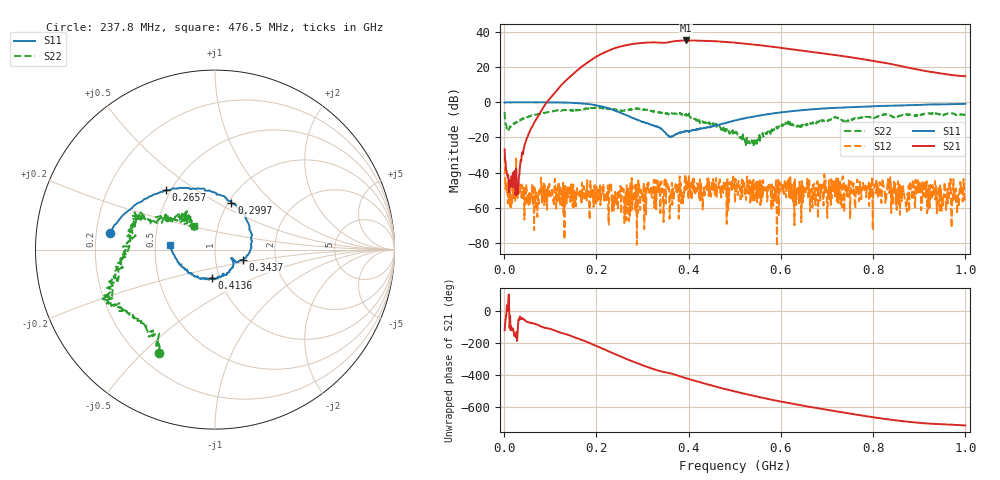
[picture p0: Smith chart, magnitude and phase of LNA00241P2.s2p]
! Created with skrf 1.9.0 (http://scikit-rf.org).
# Hz S RI R 50.0
!freq ReS11 ImS11 ReS21 ImS21 ReS12 ImS12 ReS22 ImS22
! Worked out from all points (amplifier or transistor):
!   1001 points, 1 MHz to 1 GHz, reference 50 ohm
!   highest |S21| = 35.1 dB at 394.6 MHz (marker M1)
!   |S21| within 3 dB of that: 259.2 MHz to 563 MHz (303.9 MHz wide, 73.9 % of centre)
!   unconditionally stable (mu >= 1): 3.563 MHz to 87.77 MHz; 224.8 MHz to 276.6 MHz; 290.8 MHz to end of sweep (the widest 3 of 30)
!   at 166.8 MHz: K = 1.79, MAG = 32.1 dB, |S12| = -54.7 dB
!   at 500.5 MHz: K = 6.47, MAG = 34.4 dB, |S12| = -57.0 dB
!   at 1 GHz: K = 6.54, MAG = 23.1 dB, |S12| = -53.8 dB
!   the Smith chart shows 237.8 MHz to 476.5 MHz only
!   S11 on the Smith chart (normalised r, x): 237.8 MHz: 0.26, +0.08; 265.7 MHz: 0.47, +0.38; 299.7 MHz: 1.04, +0.58; 343.7 MHz: 1.35, -0.16; 413.6 MHz: 0.92, -0.30; 476.5 MHz: 0.60, +0.03
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1000000  0.9762 0.00135  -0.022 -0.0401  -0.0219 0.0185  0.4054 0.3311
1.07893e8  0.5131 -0.8527  -0.8038 -1.535  0.000682 -0.000909  0.4214 -0.3769
1.67833e8  -0.2609 -0.8873  -10.19 -0.2491  -0.0014 7.6e-05  0.0327 -0.6263
2.07793e8  -0.6672 -0.3902  -15.46 16.37  0.000208 -0.00438  -0.2005 -0.6536
2.37763e8  -0.5873 0.0951  -2.618 33.61  -0.000523 -0.00066  -0.3141 -0.5739
2.65735e8  -0.2717 0.3316  21.04 36.28  -0.00428 0.000813  -0.4515 -0.3835
2.99701e8  0.0918 0.2591  45.35 17.9  -0.000855 -0.00243  -0.5741 -0.2607
3.18682e8  0.1925 0.1274  50.19 1.794  -0.0037 0.000573  -0.5613 -0.1538
3.34666e8  0.1963 -0.000537  48.46 -11.38  -0.00454 -0.00033  -0.5083 -0.0325
3.43657e8  0.1535 -0.0561  46.1 -16.71  -0.00171 0.00307  -0.5026 -0.0125
3.7063e8  0.1008 -0.0607  42.77 -33.85  0.00225 0.00317  -0.4549 0.1528
3.94606e8  0.0633 -0.1425  27.79 -49.74  0.000127 0.00792  -0.4152 0.207
4.13587e8  -0.0177 -0.1593  12.44 -55.19  -0.00184 0.00135  -0.2858 0.1803
4.42558e8  -0.1565 -0.1154  -10.51 -54.43  0.00586 0.00371  -0.2036 0.1829
4.76524e8  -0.2503 0.0241  -31.34 -41.59  0.00545 0.002  -0.1168 0.1327
5.005e8  -0.2628 0.1509  -40.27 -28.8  0.000387 -0.00135  -0.1063 0.0945
5.38462e8  -0.1796 0.3393  -43.33 -7.539  0.00498 -0.00147  -0.0681 -0.0132
5.84416e8  0.0175 0.4859  -35.47 12.07  0.00394 -0.000339  -0.1462 -0.0714
6.67333e8  0.4113 0.4781  -11.71 23.95  0.00112 -0.00327  -0.2502 -0.0509
7.53247e8  0.6762 0.2635  4.961 18.07  0.00168 -0.00252  -0.321 0.0139
8.34166e8  0.7935 0.00501  9.655 7.978  -0.00547 0.00192  -0.4219 0.0482
1e9  0.7172 -0.5424  5.488 0.1516  0.00163 0.00124  -0.2632 0.3625
